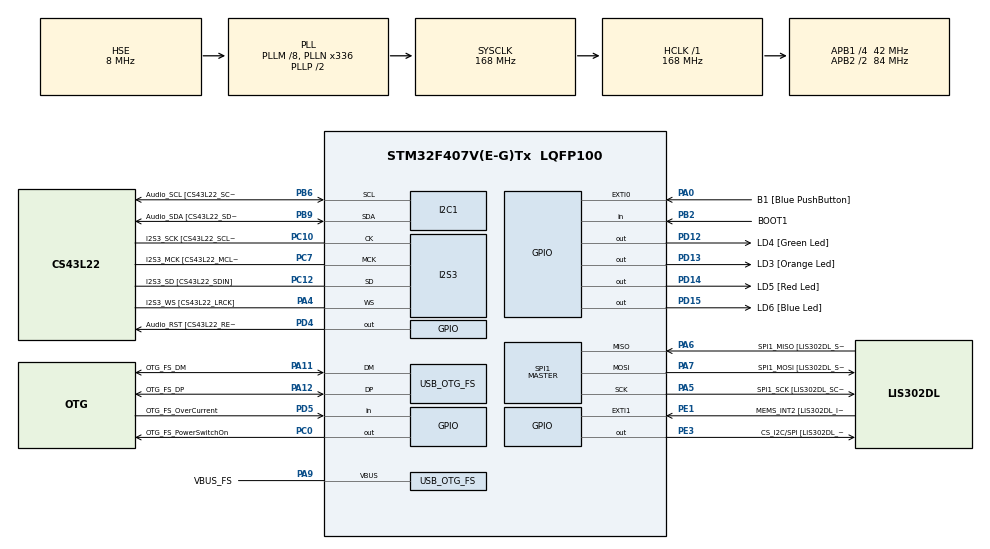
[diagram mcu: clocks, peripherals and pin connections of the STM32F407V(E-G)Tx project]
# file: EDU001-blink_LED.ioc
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I2S3.AudioFreq-Half_Duplex_Master=I2S_AUDIOFREQ_96K
I2S3.ErrorAudioFreq=-2.34 %
I2S3.ErrorAudioFreq-Half_Duplex_Master=0.8 %
I2S3.FullDuplexMode=I2S_FULLDUPLEXMODE_DISABLE
I2S3.Instance=SPI$Index
I2S3.RealAudioFreq=93.75 KHz
I2S3.RealAudioFreq-Half_Duplex_Master=96.774 KHz
I2S3.VirtualMode=I2S_MODE_MASTER
Mcu.Family=STM32F4
Mcu.Name=STM32F407V(E-G)Tx
Mcu.Package=LQFP100
NVIC.OTG_FS_IRQn=true\:0\:0\:false\:false\:true\:true\:true\:true
NVIC.PriorityGroup=NVIC_PRIORITYGROUP_0
PA0-WKUP.GPIO_Label=B1 [Blue PushButton]
PA0-WKUP.GPIO_ModeDefaultEXTI=GPIO_MODE_EVT_RISING
PA0-WKUP.GPIO_PuPd=GPIO_NOPULL
PA0-WKUP.Signal=GPXTI0
PA10.GPIO_Label=OTG_FS_ID
PA10.GPIO_Mode=GPIO_MODE_AF_PP
PA10.GPIO_PuPd=GPIO_NOPULL
PA10.GPIO_Speed=GPIO_SPEED_FREQ_LOW
PA10.Signal=USB_OTG_FS_ID
PA11.GPIO_Label=OTG_FS_DM
PA11.GPIO_Mode=GPIO_MODE_AF_PP
PA11.GPIO_PuPd=GPIO_NOPULL
PA11.GPIO_Speed=GPIO_SPEED_FREQ_LOW
PA11.Mode=Host_Only
PA11.Signal=USB_OTG_FS_DM
PA12.GPIO_Label=OTG_FS_DP
PA12.GPIO_Mode=GPIO_MODE_AF_PP
PA12.GPIO_PuPd=GPIO_NOPULL
PA12.GPIO_Speed=GPIO_SPEED_FREQ_LOW
PA12.Mode=Host_Only
PA12.Signal=USB_OTG_FS_DP
PA13.GPIO_Label=SWDIO
PA13.Mode=Serial_Wire
PA13.Signal=SYS_JTMS-SWDIO
PA14.GPIO_Label=SWCLK
PA14.Mode=Serial_Wire
PA14.Signal=SYS_JTCK-SWCLK
PA4.GPIO_Label=I2S3_WS [CS43L22_LRCK]
PA4.GPIO_Mode=GPIO_MODE_AF_PP
PA4.GPIO_PuPd=GPIO_NOPULL
PA4.GPIO_Speed=GPIO_SPEED_FREQ_LOW
PA4.Mode=Half_Duplex_Master
PA4.Signal=I2S3_WS
PA5.GPIO_Label=SPI1_SCK [LIS302DL_SCL/SPC]
PA5.GPIO_Mode=GPIO_MODE_AF_PP
PA5.GPIO_PuPd=GPIO_NOPULL
PA5.GPIO_Speed=GPIO_SPEED_FREQ_LOW
PA5.Mode=Full_Duplex_Master
PA5.Signal=SPI1_SCK
PA6.GPIO_Label=SPI1_MISO [LIS302DL_SDO]
PA6.GPIO_Mode=GPIO_MODE_AF_PP
PA6.GPIO_PuPd=GPIO_NOPULL
PA6.GPIO_Speed=GPIO_SPEED_FREQ_LOW
PA6.Mode=Full_Duplex_Master
PA6.Signal=SPI1_MISO
PA7.GPIO_Label=SPI1_MOSI [LIS302DL_SDA/SDI/SDO]
PA7.GPIO_Mode=GPIO_MODE_AF_PP
PA7.GPIO_PuPd=GPIO_NOPULL
PA7.GPIO_Speed=GPIO_SPEED_FREQ_LOW
PA7.Mode=Full_Duplex_Master
PA7.Signal=SPI1_MOSI
PA9.GPIO_Label=VBUS_FS
PA9.GPIO_Mode=GPIO_MODE_INPUT
PA9.GPIO_PuPd=GPIO_NOPULL
PA9.Mode=Activate_VBUS
PA9.Signal=USB_OTG_FS_VBUS
PB10.GPIO_Label=CLK_IN [MP45DT02_CLK]
PB10.GPIO_Mode=GPIO_MODE_AF_PP
PB10.GPIO_PuPd=GPIO_NOPULL
PB10.GPIO_Speed=GPIO_SPEED_FREQ_LOW
PB10.Signal=I2S2_CK
PB2.GPIO_Label=BOOT1
PB2.GPIO_Mode=GPIO_MODE_INPUT
PB2.GPIO_PuPd=GPIO_NOPULL
PB2.Signal=GPIO_Input
PB3.GPIO_Label=SWO
PB3.Signal=SYS_JTDO-SWO
PB6.GPIO_Label=Audio_SCL [CS43L22_SCL]
PB6.GPIO_Mode=GPIO_MODE_AF_OD
PB6.GPIO_Pu=GPIO_PULLUP
PB6.GPIO_PuPd=GPIO_NOPULL
PB6.GPIO_Speed=GPIO_SPEED_FREQ_LOW
PB6.Mode=I2C
PB6.Signal=I2C1_SCL
PB9.GPIO_Label=Audio_SDA [CS43L22_SDA]
PB9.GPIO_Mode=GPIO_MODE_AF_OD
PB9.GPIO_Pu=GPIO_PULLUP
PB9.GPIO_PuPd=GPIO_NOPULL
PB9.GPIO_Speed=GPIO_SPEED_FREQ_LOW
PB9.Mode=I2C
PB9.Signal=I2C1_SDA
PC0.GPIO_Label=OTG_FS_PowerSwitchOn
PC0.GPIO_PuPd=GPIO_NOPULL
PC0.GPIO_Speed=GPIO_SPEED_FREQ_LOW
PC0.PinState=GPIO_PIN_SET
PC0.Signal=GPIO_Output
PC10.GPIO_Label=I2S3_SCK [CS43L22_SCLK]
PC10.GPIO_Mode=GPIO_MODE_AF_PP
PC10.GPIO_PuPd=GPIO_NOPULL
PC10.GPIO_Speed=GPIO_SPEED_FREQ_LOW
PC10.Mode=Half_Duplex_Master
PC10.Signal=I2S3_CK
PC12.GPIO_Label=I2S3_SD [CS43L22_SDIN]
PC12.GPIO_Mode=GPIO_MODE_AF_PP
PC12.GPIO_PuPd=GPIO_NOPULL
PC12.GPIO_Speed=GPIO_SPEED_FREQ_LOW
PC12.Mode=Half_Duplex_Master
PC12.Signal=I2S3_SD
PC14-OSC32_IN.GPIO_Label=PC14-OSC32_IN
PC14-OSC32_IN.Mode=LSE-External-Oscillator
PC14-OSC32_IN.Signal=RCC_OSC32_IN
PC15-OSC32_OUT.GPIO_Label=PC15-OSC32_OUT
PC15-OSC32_OUT.Mode=LSE-External-Oscillator
PC15-OSC32_OUT.Signal=RCC_OSC32_OUT
PC3.GPIO_Label=PDM_OUT [MP45DT02_DOUT]
PC3.GPIO_Mode=GPIO_MODE_AF_PP
PC3.GPIO_PuPd=GPIO_NOPULL
PC3.GPIO_Speed=GPIO_SPEED_FREQ_LOW
PC3.Signal=I2S2_SD
PC7.GPIO_Label=I2S3_MCK [CS43L22_MCLK]
PC7.GPIO_Mode=GPIO_MODE_AF_PP
PC7.GPIO_PuPd=GPIO_NOPULL
PC7.GPIO_Speed=GPIO_SPEED_FREQ_LOW
PC7.Mode=Master_Clock_Activated
PC7.Signal=I2S3_MCK
PD12.GPIO_Label=LD4 [Green Led]
PD12.GPIO_PuPd=GPIO_NOPULL
PD12.GPIO_Speed=GPIO_SPEED_FREQ_LOW
PD12.Signal=GPIO_Output
PD13.GPIO_Label=LD3 [Orange Led]
PD13.GPIO_PuPd=GPIO_NOPULL
PD13.GPIO_Speed=GPIO_SPEED_FREQ_LOW
PD13.Signal=GPIO_Output
PD14.GPIO_Label=LD5 [Red Led]
PD14.GPIO_PuPd=GPIO_NOPULL
PD14.GPIO_Speed=GPIO_SPEED_FREQ_LOW
PD14.Signal=GPIO_Output
PD15.GPIO_Label=LD6 [Blue Led]
PD15.GPIO_PuPd=GPIO_NOPULL
PD15.GPIO_Speed=GPIO_SPEED_FREQ_LOW
PD15.Signal=GPIO_Output
PD4.GPIO_Label=Audio_RST [CS43L22_RESET]
PD4.GPIO_PuPd=GPIO_NOPULL
PD4.GPIO_Speed=GPIO_SPEED_FREQ_LOW
PD4.Signal=GPIO_Output
PD5.GPIO_Label=OTG_FS_OverCurrent
PD5.GPIO_Mode=GPIO_MODE_INPUT
PD5.GPIO_PuPd=GPIO_NOPULL
PD5.Signal=GPIO_Input
PE1.GPIO_Label=MEMS_INT2 [LIS302DL_INT2]
PE1.GPIO_ModeDefaultEXTI=GPIO_MODE_EVT_RISING
PE1.GPIO_PuPd=GPIO_NOPULL
PE1.Signal=GPXTI1
PE3.GPIO_Label=CS_I2C/SPI [LIS302DL_CS_I2C/SPI]
PE3.GPIO_PuPd=GPIO_NOPULL
PE3.GPIO_Speed=GPIO_SPEED_FREQ_LOW
PE3.Signal=GPIO_Output
PH0-OSC_IN.GPIO_Label=PH0-OSC_IN
PH0-OSC_IN.Mode=HSE-External-Oscillator
PH0-OSC_IN.Signal=RCC_OSC_IN
PH1-OSC_OUT.GPIO_Label=PH1-OSC_OUT
PH1-OSC_OUT.Mode=HSE-External-Oscillator
PH1-OSC_OUT.Signal=RCC_OSC_OUT
ProjectManager.HeapSize=0x200
ProjectManager.StackSize=0x400
ProjectManager.TargetToolchain=STM32CubeIDE
RCC.48MHZClocksFreq_Value=48000000
RCC.AHBFreq_Value=168000000
RCC.APB1CLKDivider=RCC_HCLK_DIV4
RCC.APB1Freq_Value=42000000
RCC.APB1TimFreq_Value=84000000
RCC.APB2CLKDivider=RCC_HCLK_DIV2
RCC.APB2Freq_Value=84000000
RCC.APB2TimFreq_Value=168000000
RCC.CortexFreq_Value=168000000
RCC.HCLKFreq_Value=168000000
RCC.HSE_VALUE=8000000
RCC.HSI_VALUE=16000000
RCC.PLLM=8
RCC.PLLN=336
RCC.PLLQ=7
RCC.SYSCLKFreq_VALUE=168000000
RCC.SYSCLKSource=RCC_SYSCLKSOURCE_PLLCLK
RCC.VCOOutputFreq_Value=336000000
SPI1.BaudRatePrescaler-Full_Duplex_Master=SPI_BAUDRATEPRESCALER_2
SPI1.CalculateBaudRate-Full_Duplex_Master=42.0 MBits/s
SPI1.Direction=SPI_DIRECTION_2LINES
SPI1.Mode=SPI_MODE_MASTER
SPI1.Mode-Full_Duplex_Master=SPI_MODE_MASTER
SPI1.VirtualType=VM_MASTER
USB_HOST.BSP.number=1
USB_HOST.USBH_HandleTypeDef-CDC_FS=hUsbHostFS
USB_HOST.VirtualModeFS=Cdc
USB_HOST0.BSP.STBoard=false
USB_HOST0.BSP.api=Unknown
USB_HOST0.BSP.instance=PC0
USB_HOST0.BSP.ip=GPIO
USB_HOST0.BSP.mode=Output
USB_HOST0.BSP.name=Drive_VBUS_FS
USB_HOST0.BSP.solution=PC0
USB_OTG_FS.VirtualMode=Host_Only
USB_OTG_FS.phy_itface=HCD_PHY_EMBEDDED
VP_USB_HOST_VS_USB_HOST_CDC_FS.Mode=CDC_FS
board=STM32F407G-DISC1

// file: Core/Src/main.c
/* USER CODE BEGIN Header */
/**
  ******************************************************************************
  * @file           : main.c
  * @brief          : Main program body
  ******************************************************************************
  * @attention
  *
  * Copyright (c) 2026 STMicroelectronics.
  * All rights reserved.
  *
  * This software is licensed under terms that can be found in the LICENSE file
  * in the root directory of this software component.
  * If no LICENSE file comes with this software, it is provided AS-IS.
  *
  ******************************************************************************
  */
/* USER CODE END Header */
#include "main.h"
#include "usb_host.h"

/* USER CODE BEGIN PD */

#define LED_EXPERIMENT_TOGGLE     1
#define LED_EXPERIMENT_WRITEPIN   2
#define LED_EXPERIMENT_SEQUENCE   3

#define ACTIVE_LED_EXPERIMENT LED_EXPERIMENT_SEQUENCE

/* USER CODE END PD */

I2C_HandleTypeDef hi2c1;

I2S_HandleTypeDef hi2s3;

SPI_HandleTypeDef hspi1;

void SystemClock_Config(void);
static void MX_GPIO_Init(void);
static void MX_I2C1_Init(void);
static void MX_I2S3_Init(void);
static void MX_SPI1_Init(void);
void MX_USB_HOST_Process(void);

int main(void)
{

  /* MCU Configuration--------------------------------------------------------*/

  /* Reset of all peripherals, Initializes the Flash interface and the Systick. */
  HAL_Init();

  /* Configure the system clock */
  SystemClock_Config();

  /* Initialize all configured peripherals */
  MX_GPIO_Init();
  MX_I2C1_Init();
  MX_I2S3_Init();
  MX_SPI1_Init();
  MX_USB_HOST_Init();

  /* Infinite loop */
  /* USER CODE BEGIN WHILE */
  while (1)
  {
	  while (1)
	  {
	  #if ACTIVE_LED_EXPERIMENT == LED_EXPERIMENT_TOGGLE

	    HAL_GPIO_TogglePin(GPIOD, GPIO_PIN_15);
	    HAL_Delay(500);

	  #elif ACTIVE_LED_EXPERIMENT == LED_EXPERIMENT_WRITEPIN

	    HAL_GPIO_WritePin(GPIOD, GPIO_PIN_15, GPIO_PIN_SET);
	    HAL_Delay(500);

	    HAL_GPIO_WritePin(GPIOD, GPIO_PIN_15, GPIO_PIN_RESET);
	    HAL_Delay(500);

	  #elif ACTIVE_LED_EXPERIMENT == LED_EXPERIMENT_SEQUENCE

	    HAL_GPIO_WritePin(GPIOD, GPIO_PIN_12, GPIO_PIN_SET);
	    HAL_Delay(500);
	    HAL_GPIO_WritePin(GPIOD, GPIO_PIN_12, GPIO_PIN_RESET);

	    HAL_GPIO_WritePin(GPIOD, GPIO_PIN_13, GPIO_PIN_SET);
	    HAL_Delay(500);
	    HAL_GPIO_WritePin(GPIOD, GPIO_PIN_13, GPIO_PIN_RESET);

	    HAL_GPIO_WritePin(GPIOD, GPIO_PIN_14, GPIO_PIN_SET);
	    HAL_Delay(500);
	    HAL_GPIO_WritePin(GPIOD, GPIO_PIN_14, GPIO_PIN_RESET);

	    HAL_GPIO_WritePin(GPIOD, GPIO_PIN_15, GPIO_PIN_SET);
	    HAL_Delay(500);
	    HAL_GPIO_WritePin(GPIOD, GPIO_PIN_15, GPIO_PIN_RESET);

	  #endif

	    MX_USB_HOST_Process();
	  }
    /* USER CODE END WHILE */
    MX_USB_HOST_Process();

  }
}

void SystemClock_Config(void)
{
  RCC_OscInitTypeDef RCC_OscInitStruct = {0};
  RCC_ClkInitTypeDef RCC_ClkInitStruct = {0};

  /** Configure the main internal regulator output voltage
  */
  __HAL_RCC_PWR_CLK_ENABLE();
  __HAL_PWR_VOLTAGESCALING_CONFIG(PWR_REGULATOR_VOLTAGE_SCALE1);

  /** Initializes the RCC Oscillators according to the specified parameters
  * in the RCC_OscInitTypeDef structure.
  */
  RCC_OscInitStruct.OscillatorType = RCC_OSCILLATORTYPE_HSE;
  RCC_OscInitStruct.HSEState = RCC_HSE_ON;
  RCC_OscInitStruct.PLL.PLLState = RCC_PLL_ON;
  RCC_OscInitStruct.PLL.PLLSource = RCC_PLLSOURCE_HSE;
  RCC_OscInitStruct.PLL.PLLM = 8;
  RCC_OscInitStruct.PLL.PLLN = 336;
  RCC_OscInitStruct.PLL.PLLP = RCC_PLLP_DIV2;
  RCC_OscInitStruct.PLL.PLLQ = 7;
  if (HAL_RCC_OscConfig(&RCC_OscInitStruct) != HAL_OK)
  {
    Error_Handler();
  }

  /** Initializes the CPU, AHB and APB buses clocks
  */
  RCC_ClkInitStruct.ClockType = RCC_CLOCKTYPE_HCLK|RCC_CLOCKTYPE_SYSCLK
                              |RCC_CLOCKTYPE_PCLK1|RCC_CLOCKTYPE_PCLK2;
  RCC_ClkInitStruct.SYSCLKSource = RCC_SYSCLKSOURCE_PLLCLK;
  RCC_ClkInitStruct.AHBCLKDivider = RCC_SYSCLK_DIV1;
  RCC_ClkInitStruct.APB1CLKDivider = RCC_HCLK_DIV4;
  RCC_ClkInitStruct.APB2CLKDivider = RCC_HCLK_DIV2;

  if (HAL_RCC_ClockConfig(&RCC_ClkInitStruct, FLASH_LATENCY_5) != HAL_OK)
  {
    Error_Handler();
  }
}

static void MX_I2C1_Init(void)
{

  hi2c1.Instance = I2C1;
  hi2c1.Init.ClockSpeed = 100000;
  hi2c1.Init.DutyCycle = I2C_DUTYCYCLE_2;
  hi2c1.Init.OwnAddress1 = 0;
  hi2c1.Init.AddressingMode = I2C_ADDRESSINGMODE_7BIT;
  hi2c1.Init.DualAddressMode = I2C_DUALADDRESS_DISABLE;
  hi2c1.Init.OwnAddress2 = 0;
  hi2c1.Init.GeneralCallMode = I2C_GENERALCALL_DISABLE;
  hi2c1.Init.NoStretchMode = I2C_NOSTRETCH_DISABLE;
  if (HAL_I2C_Init(&hi2c1) != HAL_OK)
  {
    Error_Handler();
  }

}

static void MX_I2S3_Init(void)
{

  hi2s3.Instance = SPI3;
  hi2s3.Init.Mode = I2S_MODE_MASTER_TX;
  hi2s3.Init.Standard = I2S_STANDARD_PHILIPS;
  hi2s3.Init.DataFormat = I2S_DATAFORMAT_16B;
  hi2s3.Init.MCLKOutput = I2S_MCLKOUTPUT_ENABLE;
  hi2s3.Init.AudioFreq = I2S_AUDIOFREQ_96K;
  hi2s3.Init.CPOL = I2S_CPOL_LOW;
  hi2s3.Init.ClockSource = I2S_CLOCK_PLL;
  hi2s3.Init.FullDuplexMode = I2S_FULLDUPLEXMODE_DISABLE;
  if (HAL_I2S_Init(&hi2s3) != HAL_OK)
  {
    Error_Handler();
  }

}

static void MX_SPI1_Init(void)
{

  /* SPI1 parameter configuration*/
  hspi1.Instance = SPI1;
  hspi1.Init.Mode = SPI_MODE_MASTER;
  hspi1.Init.Direction = SPI_DIRECTION_2LINES;
  hspi1.Init.DataSize = SPI_DATASIZE_8BIT;
  hspi1.Init.CLKPolarity = SPI_POLARITY_LOW;
  hspi1.Init.CLKPhase = SPI_PHASE_1EDGE;
  hspi1.Init.NSS = SPI_NSS_SOFT;
  hspi1.Init.BaudRatePrescaler = SPI_BAUDRATEPRESCALER_2;
  hspi1.Init.FirstBit = SPI_FIRSTBIT_MSB;
  hspi1.Init.TIMode = SPI_TIMODE_DISABLE;
  hspi1.Init.CRCCalculation = SPI_CRCCALCULATION_DISABLE;
  hspi1.Init.CRCPolynomial = 10;
  if (HAL_SPI_Init(&hspi1) != HAL_OK)
  {
    Error_Handler();
  }

}

static void MX_GPIO_Init(void)
{
  GPIO_InitTypeDef GPIO_InitStruct = {0};

  /* GPIO Ports Clock Enable */
  __HAL_RCC_GPIOE_CLK_ENABLE();
  __HAL_RCC_GPIOC_CLK_ENABLE();
  __HAL_RCC_GPIOH_CLK_ENABLE();
  __HAL_RCC_GPIOA_CLK_ENABLE();
  __HAL_RCC_GPIOB_CLK_ENABLE();
  __HAL_RCC_GPIOD_CLK_ENABLE();

  /*Configure GPIO pin Output Level */
  HAL_GPIO_WritePin(CS_I2C_SPI_GPIO_Port, CS_I2C_SPI_Pin, GPIO_PIN_RESET);

  /*Configure GPIO pin Output Level */
  HAL_GPIO_WritePin(OTG_FS_PowerSwitchOn_GPIO_Port, OTG_FS_PowerSwitchOn_Pin, GPIO_PIN_SET);

  /*Configure GPIO pin Output Level */
  HAL_GPIO_WritePin(GPIOD, LD4_Pin|LD3_Pin|LD5_Pin|LD6_Pin
                          |Audio_RST_Pin, GPIO_PIN_RESET);

  /*Configure GPIO pin : CS_I2C_SPI_Pin */
  GPIO_InitStruct.Pin = CS_I2C_SPI_Pin;
  GPIO_InitStruct.Mode = GPIO_MODE_OUTPUT_PP;
  GPIO_InitStruct.Pull = GPIO_NOPULL;
  GPIO_InitStruct.Speed = GPIO_SPEED_FREQ_LOW;
  HAL_GPIO_Init(CS_I2C_SPI_GPIO_Port, &GPIO_InitStruct);

  /*Configure GPIO pin : OTG_FS_PowerSwitchOn_Pin */
  GPIO_InitStruct.Pin = OTG_FS_PowerSwitchOn_Pin;
  GPIO_InitStruct.Mode = GPIO_MODE_OUTPUT_PP;
  GPIO_InitStruct.Pull = GPIO_NOPULL;
  GPIO_InitStruct.Speed = GPIO_SPEED_FREQ_LOW;
  HAL_GPIO_Init(OTG_FS_PowerSwitchOn_GPIO_Port, &GPIO_InitStruct);

  /*Configure GPIO pin : PDM_OUT_Pin */
  GPIO_InitStruct.Pin = PDM_OUT_Pin;
  GPIO_InitStruct.Mode = GPIO_MODE_AF_PP;
  GPIO_InitStruct.Pull = GPIO_NOPULL;
  GPIO_InitStruct.Speed = GPIO_SPEED_FREQ_LOW;
  GPIO_InitStruct.Alternate = GPIO_AF5_SPI2;
  HAL_GPIO_Init(PDM_OUT_GPIO_Port, &GPIO_InitStruct);

  /*Configure GPIO pin : B1_Pin */
  GPIO_InitStruct.Pin = B1_Pin;
  GPIO_InitStruct.Mode = GPIO_MODE_EVT_RISING;
  GPIO_InitStruct.Pull = GPIO_NOPULL;
  HAL_GPIO_Init(B1_GPIO_Port, &GPIO_InitStruct);

  /*Configure GPIO pin : BOOT1_Pin */
  GPIO_InitStruct.Pin = BOOT1_Pin;
  GPIO_InitStruct.Mode = GPIO_MODE_INPUT;
  GPIO_InitStruct.Pull = GPIO_NOPULL;
  HAL_GPIO_Init(BOOT1_GPIO_Port, &GPIO_InitStruct);

  /*Configure GPIO pin : CLK_IN_Pin */
  GPIO_InitStruct.Pin = CLK_IN_Pin;
  GPIO_InitStruct.Mode = GPIO_MODE_AF_PP;
  GPIO_InitStruct.Pull = GPIO_NOPULL;
  GPIO_InitStruct.Speed = GPIO_SPEED_FREQ_LOW;
  GPIO_InitStruct.Alternate = GPIO_AF5_SPI2;
  HAL_GPIO_Init(CLK_IN_GPIO_Port, &GPIO_InitStruct);

  /*Configure GPIO pins : LD4_Pin LD3_Pin LD5_Pin LD6_Pin
                           Audio_RST_Pin */
  GPIO_InitStruct.Pin = LD4_Pin|LD3_Pin|LD5_Pin|LD6_Pin
                          |Audio_RST_Pin;
  GPIO_InitStruct.Mode = GPIO_MODE_OUTPUT_PP;
  GPIO_InitStruct.Pull = GPIO_NOPULL;
  GPIO_InitStruct.Speed = GPIO_SPEED_FREQ_LOW;
  HAL_GPIO_Init(GPIOD, &GPIO_InitStruct);

  /*Configure GPIO pin : OTG_FS_OverCurrent_Pin */
  GPIO_InitStruct.Pin = OTG_FS_OverCurrent_Pin;
  GPIO_InitStruct.Mode = GPIO_MODE_INPUT;
  GPIO_InitStruct.Pull = GPIO_NOPULL;
  HAL_GPIO_Init(OTG_FS_OverCurrent_GPIO_Port, &GPIO_InitStruct);

  /*Configure GPIO pin : MEMS_INT2_Pin */
  GPIO_InitStruct.Pin = MEMS_INT2_Pin;
  GPIO_InitStruct.Mode = GPIO_MODE_EVT_RISING;
  GPIO_InitStruct.Pull = GPIO_NOPULL;
  HAL_GPIO_Init(MEMS_INT2_GPIO_Port, &GPIO_InitStruct);

}

void Error_Handler(void)
{
  __disable_irq();
  while (1)
  {
  }
}
